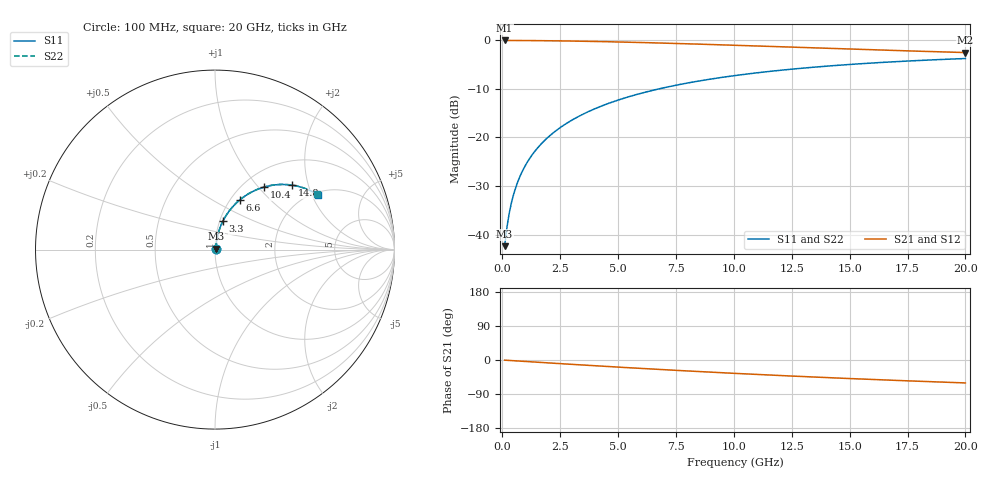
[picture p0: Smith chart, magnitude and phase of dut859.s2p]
! Touchstone file exported from HFSS 2026.1.0
!  File:  C:/ffzhzh/LocalFiles/Ansys_Project_Files/temp_train_BSMRDL_859_1783170699_51560.aedt
!  Generated:  09:13:05 PM Jul  4, 2026
!  Design:  BSMRDL
!  Project:  temp_train_BSMRDL_859_1783170699_51560
! Variables:
!  h_bsmrdl = 5.24um
!  h_ox = 20um
!  h_rdl = 5um
!  h_sub = 80um
!  h_tmrdl = 5um
!  h_tsv = 80um
!  h_via = 3um
!  l_bsmrdl = 862.52um
!  l_sub = 1262.52um
!  l_tmrdl = 200um
!  m_sub = 200um
!  pitch = 58.3um
!  r_tsv = 6um
!  s_tmrdl = 10um
!  w_bsmrdl = 10.49um
!  w_sub = 500um
!  w_tmrdl = 12um
!  x_tsv_center1 = 206um
!  x_tsv_center2 = 1079.01um
!  x_tsv_center3 = 1291.01um
!  x_tsv_center4 = 2164.02um
!  x_tsv_center5 = 2376.02um
!  x_tsv_center6 = 3249.03um
# GHz S MA R 50.000000
! Terminal data exported
! Port[1] = BSM_RDL1_1_T1
! Port[2] = BSM_RDL1_1_T2
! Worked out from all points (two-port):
!   200 points, 100 MHz to 20 GHz, reference 50 ohm
!   highest |S21| = -0.05 dB at 100 MHz (marker M1); lowest = -2.5 dB at 20 GHz (marker M2)
!   |S21| within 3 dB of the highest: start of sweep to end of sweep
!   lowest |S11| = -42.4 dB at 100 MHz (marker M3), VSWR 1.02, Z = 50.6 + j0.526 ohm
!   |S11| at or under -10 dB: start of sweep to 6.776 GHz
!   |S22| runs from -42.4 to -3.8 dB; largest |S21 - S12| = 6.3e-15
!   S11 on the Smith chart (normalised r, x): 100 MHz: 1.01, +0.01; 3.3 GHz: 1.04, +0.34; 6.6 GHz: 1.10, +0.68; 10.4 GHz: 1.24, +1.08; 14.8 GHz: 1.51, +1.58; 20 GHz: 2.09, +2.21
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0.1  0.007603 43.1  0.9945 -0.4  0.9945 -0.4  0.007603 43.1
! Gamma 0 0 0 0
! Port Impedance 50 0 50 0
0.2  0.01184 61.1  0.9944 -0.8  0.9944 -0.8  0.01184 61.1
0.3  0.01662 68.8  0.9942 -1.2  0.9942 -1.2  0.01662 68.8
0.4  0.02154 72.9  0.994 -1.6  0.994 -1.6  0.02154 72.9
0.5  0.02652 75.3  0.9938 -2.0  0.9938 -2.0  0.02652 75.3
0.7  0.03654 77.8  0.9933 -2.7  0.9933 -2.7  0.03654 77.8
1  0.05161 79.2  0.9924 -3.9  0.9924 -3.9  0.05161 79.2
1.4  0.07169 79.3  0.9909 -5.4  0.9909 -5.4  0.07168 79.4
1.9  0.09662 78.5  0.9884 -7.3  0.9884 -7.3  0.09662 78.6
2.5  0.1261 77.0  0.9845 -9.6  0.9845 -9.6  0.1261 77.0
3.3  0.1646 74.5  0.978 -12.6  0.978 -12.6  0.1646 74.5
3.5  0.1741 73.8  0.9762 -13.3  0.9762 -13.3  0.174 73.8
4.9  0.2378 69.1  0.9611 -18.4  0.9611 -18.4  0.2378 69.2
6.6  0.3092 63.5  0.9391 -24.3  0.9391 -24.3  0.3092 63.5
6.8  0.3172 62.8  0.9363 -25.0  0.9363 -25.0  0.3172 62.9
8.3  0.3738 58.1  0.9144 -29.9  0.9144 -29.9  0.3737 58.1
10.1  0.4345 52.6  0.8866 -35.5  0.8866 -35.5  0.4345 52.7
10.4  0.4439 51.8  0.8819 -36.4  0.8819 -36.4  0.4439 51.9
13.4  0.5266 43.5  0.8352 -44.8  0.8352 -44.8  0.5266 43.6
14.8  0.5587 40.0  0.8143 -48.4  0.8143 -48.4  0.5587 40.1
16.7  0.5965 35.4  0.7876 -53.1  0.7876 -53.1  0.5965 35.5
20  0.6483 28.1  0.7467 -60.5  0.7467 -60.5  0.6482 28.3
